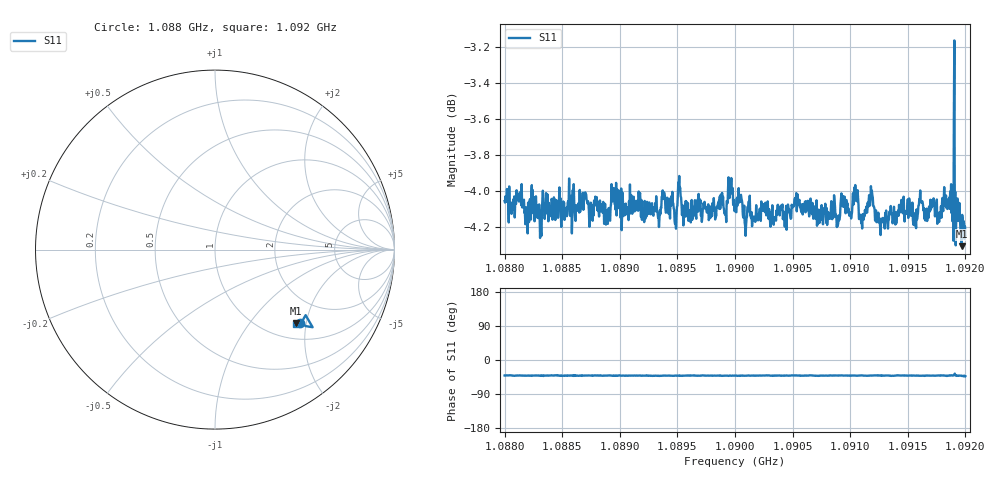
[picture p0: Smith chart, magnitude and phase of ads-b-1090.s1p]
! Calibrated averaged scanner-service zoom
# Hz S RI R 50
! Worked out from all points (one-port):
!   1001 points, 1.088 GHz to 1.092 GHz, reference 50 ohm
!   lowest |S11| = -4.3 dB at 1.09197 GHz (marker M1), VSWR 4.12, Z = 67.3 - j87.4 ohm
!   |S11| at or under -10 dB: nowhere
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1.088e9  0.4736 -0.4109
1.088304e9  0.4663 -0.4108
1.08844e9  0.4716 -0.4016
1.0885e9  0.4669 -0.4162
1.089e9  0.4741 -0.4061
1.08934e9  0.4584 -0.4124
1.089376e9  0.4709 -0.4152
1.0895e9  0.4683 -0.4142
1.089624e9  0.4748 -0.41
1.08968e9  0.4672 -0.4118
1.09e9  0.4703 -0.4115
1.090088e9  0.46 -0.4112
1.09028e9  0.4705 -0.4066
1.090324e9  0.4661 -0.4168
1.0905e9  0.4737 -0.4068
1.090652e9  0.4766 -0.4077
1.090712e9  0.4619 -0.4092
1.090932e9  0.4751 -0.4117
1.091e9  0.4677 -0.4108
1.0915e9  0.4717 -0.4141
1.091616e9  0.468 -0.4164
1.091776e9  0.4688 -0.4095
1.091844e9  0.4672 -0.4134
1.091876e9  0.4806 -0.4131
1.091892e9  0.4715 -0.4103
1.09192e9  0.4617 -0.4123
1.091968e9  0.4518 -0.4085
1.092e9  0.4507 -0.4159
